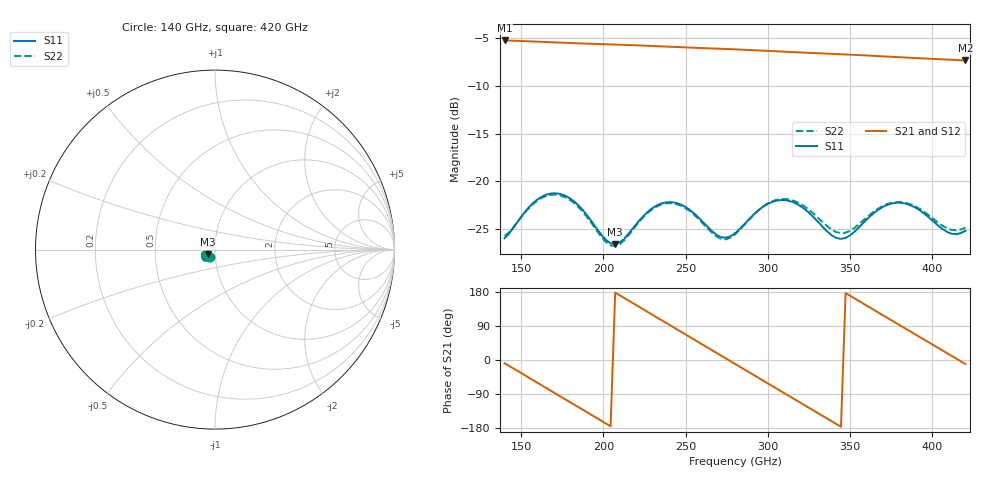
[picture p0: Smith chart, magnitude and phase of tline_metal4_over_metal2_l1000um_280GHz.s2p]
#  GHZ S DB R 50
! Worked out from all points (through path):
!   101 points, 140 GHz to 420 GHz, reference 50 ohm
!   highest |S21| = -5.21 dB at 140 GHz (marker M1); lowest = -7.3 dB at 420 GHz (marker M2)
!   group delay of S21, straight-line fit = 7.17 ps
!   lowest |S11| = -26.6 dB at 207.2 GHz (marker M3), VSWR 1.10, Z = 46.2 - j2.49 ohm
!   |S11| at or under -10 dB: start of sweep to end of sweep
!   |S22| runs from -26.8 to -21.4 dB; largest |S21 - S12| = 8.6e-14
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140  -25.97 -127.2  -5.21 -8.5  -5.21 -8.5  -25.75 -130.6
151.2  -23.45 -120.5  -5.27 -37.5  -5.27 -37.5  -23.50 -123.5
165.2  -21.40 -133.6  -5.37 -73.7  -5.37 -73.7  -21.53 -135.8
176.4  -21.47 -148.1  -5.45 -102.6  -5.45 -102.6  -21.63 -150.0
187.6  -23.02 -159.2  -5.53 -131.5  -5.53 -131.5  -23.20 -161.0
207.2  -26.58 -145.1  -5.64 177.9  -5.64 177.9  -26.79 -146.0
221.2  -24.23 -132.1  -5.73 141.6  -5.73 141.6  -24.36 -132.8
235.2  -22.31 -141.7  -5.83 105.4  -5.83 105.4  -22.42 -142.6
254.8  -23.31 -159.5  -5.97 54.8  -5.97 54.8  -23.44 -160.4
268.8  -25.61 -155.8  -6.07 18.7  -6.07 18.7  -25.79 -156.3
280  -25.44 -141.6  -6.14 -10.2  -6.14 -10.2  -25.57 -141.3
294  -23.06 -139.3  -6.25 -46.4  -6.25 -46.4  -23.06 -139.0
305.2  -22.02 -148.4  -6.35 -75.3  -6.35 -75.3  -21.94 -148.1
316.4  -22.26 -159.3  -6.44 -104.1  -6.44 -104.1  -22.07 -158.9
327.6  -23.72 -166.1  -6.53 -133.0  -6.53 -133.0  -23.36 -165.8
338.8  -25.66 -161.1  -6.61 -161.8  -6.61 -161.8  -25.07 -162.3
350  -25.65 -146.2  -6.70 169.3  -6.70 169.3  -25.17 -150.0
364  -23.37 -142.3  -6.82 133.2  -6.82 133.2  -23.21 -146.3
375.2  -22.32 -150.0  -6.92 104.4  -6.92 104.4  -22.23 -153.4
386.4  -22.48 -159.5  -7.02 75.7  -7.02 75.7  -22.37 -162.4
400.4  -24.17 -164.8  -7.14 39.7  -7.14 39.7  -23.91 -167.7
420  -25.18 -147.6  -7.31 -10.6  -7.31 -10.6  -24.84 -153.3
